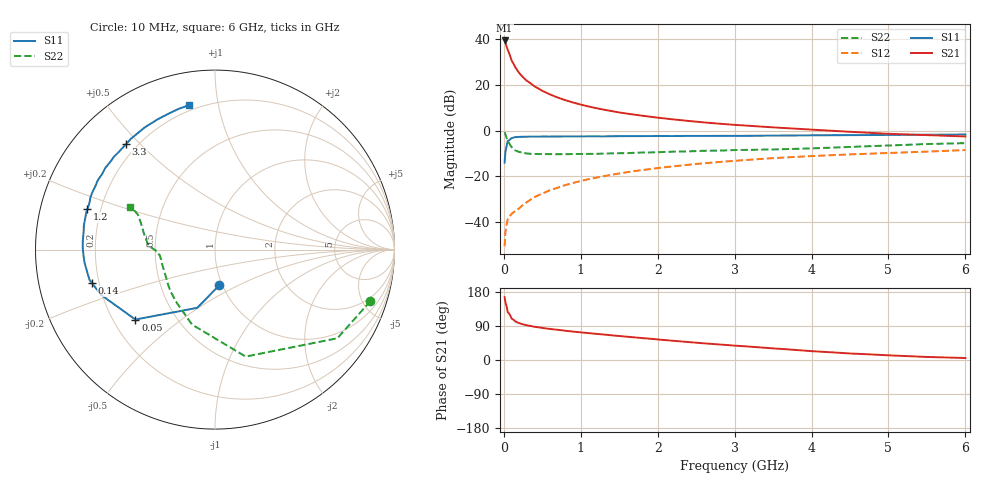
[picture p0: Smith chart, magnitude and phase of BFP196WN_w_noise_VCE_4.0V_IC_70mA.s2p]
! (c) 2017  Infineon Technologies AG, Munich
! Infineon Technologies  Discrete & RF Semiconductors
! BFP196WN
! VCE =  4.0 V,  IC =  70 mA
! Common Emitter S-Parameters:  Jan 2017
# GHz  S  MA  R  50
!  f  S11  S21  S12  S22
! GHz  MAG  ANG  MAG  ANG  MAG  ANG  MAG  ANG
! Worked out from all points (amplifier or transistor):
!   77 points, 10 MHz to 6 GHz, reference 50 ohm
!   highest |S21| = 39.3 dB at 10 MHz (marker M1)
!   |S21| within 3 dB of that: start of sweep to 39.15 MHz
!   unconditionally stable (mu >= 1): 553.2 MHz to 2.653 GHz
!   at 130 MHz: K = 0.64, MSG = 32.2 dB, |S12| = -35.6 dB
!   at 2.2 GHz: K = 1.02, MAG = 9.4 dB, |S12| = -15.6 dB
!   at 6 GHz: K = 0.92, MSG = 3.0 dB, |S12| = -8.5 dB
!   lowest NFmin = 1.47 dB at 450 MHz
!   S11 on the Smith chart (normalised r, x): 10 MHz: 0.97, -0.40; 50 MHz: 0.29, -0.35; 140 MHz: 0.17, -0.13; 1.2 GHz: 0.15, +0.15; 3.3 GHz: 0.16, +0.46; 6 GHz: 0.17, +0.82
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0.01  0.1995 -82.8  92.04 166.0  0.003 73.7  0.9124 -18.3
0.02  0.3392 -107.0  82.44 152.4  0.0059 70.4  0.8421 -35.9
0.05  0.5904 -138.7  57.9 126.8  0.0114 51.5  0.6201 -74.0
0.1  0.6836 -158.4  33.91 109.5  0.0152 52.0  0.4371 -107.0
0.14  0.7111 -164.9  25.64 103.8  0.0171 53.1  0.377 -121.1
0.15  0.7194 -166.5  23.63 101.7  0.0176 53.3  0.3663 -125.3
0.2  0.7253 -171.5  17.93 97.2  0.0201 58.9  0.3405 -136.6
0.25  0.7307 -174.5  14.46 93.9  0.024 60.9  0.3253 -143.8
0.3  0.7329 -177.1  12.1 91.5  0.0274 63.8  0.3147 -149.7
0.4  0.737 179.2  9.139 87.6  0.0353 67.0  0.3076 -156.7
0.5  0.7383 176.3  7.32 84.6  0.0422 68.3  0.3059 -161.6
0.7  0.7391 171.8  5.237 79.7  0.0565 70.5  0.3034 -167.6
0.9  0.7432 167.6  4.073 75.0  0.0718 70.3  0.3066 -170.9
1.1  0.7464 164.0  3.347 71.0  0.0867 70.1  0.309 -173.7
1.2  0.7461 162.3  3.071 69.0  0.0935 69.3  0.3098 -174.6
1.6  0.7536 155.7  2.335 61.5  0.1229 67.5  0.3211 -177.6
2.1  0.7574 147.9  1.826 52.5  0.1583 63.5  0.3409 179.6
3.1  0.7649 133.0  1.295 36.6  0.2244 54.9  0.3766 174.9
3.3  0.7689 130.1  1.231 33.7  0.2369 53.2  0.3814 173.5
4.1  0.7861 118.8  1.023 22.2  0.2817 46.1  0.4132 165.5
5.1  0.8016 108.1  0.836 11.5  0.3276 38.4  0.4776 155.3
6  0.8183 100.1  0.74 5.2  0.3741 32.3  0.5301 153.2
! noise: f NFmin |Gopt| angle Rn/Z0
0.45  1.47  0.57  -176  0.05
0.9  1.6  0.58  -169  0.06
1.9  2.54  0.7  -147  0.19
2.4  3.34  0.71  -139  0.32
